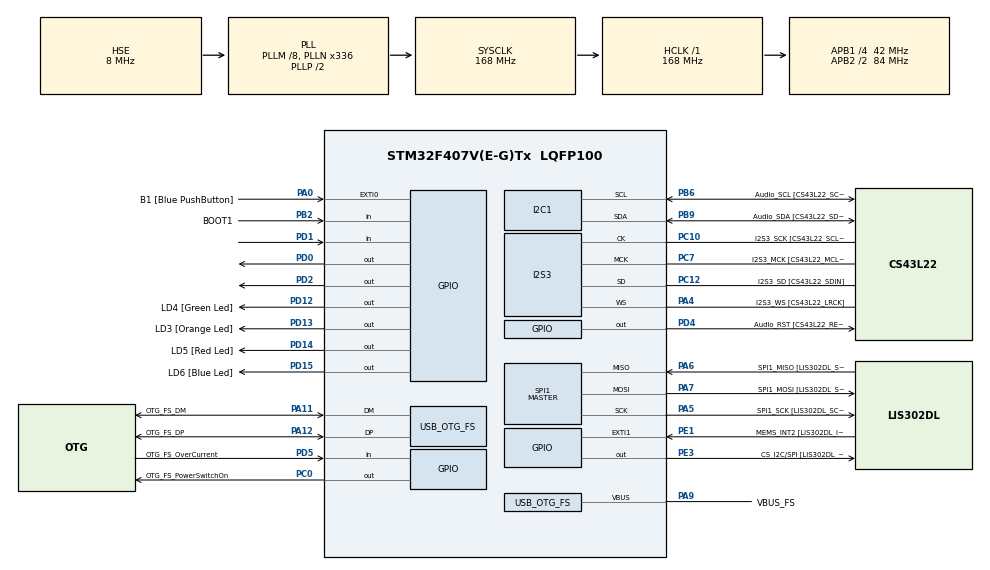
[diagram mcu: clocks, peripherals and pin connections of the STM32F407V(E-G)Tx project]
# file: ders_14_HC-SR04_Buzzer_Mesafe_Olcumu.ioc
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I2S3.AudioFreq-Half_Duplex_Master=I2S_AUDIOFREQ_96K
I2S3.ErrorAudioFreq=-2.34 %
I2S3.ErrorAudioFreq-Half_Duplex_Master=0.8 %
I2S3.FullDuplexMode=I2S_FULLDUPLEXMODE_DISABLE
I2S3.Instance=SPI$Index
I2S3.RealAudioFreq=93.75 KHz
I2S3.RealAudioFreq-Half_Duplex_Master=96.774 KHz
I2S3.VirtualMode=I2S_MODE_MASTER
Mcu.Family=STM32F4
Mcu.Name=STM32F407V(E-G)Tx
Mcu.Package=LQFP100
NVIC.OTG_FS_IRQn=true\:0\:0\:false\:false\:true\:true\:true\:true
NVIC.PriorityGroup=NVIC_PRIORITYGROUP_0
PA0-WKUP.GPIO_Label=B1 [Blue PushButton]
PA0-WKUP.GPIO_ModeDefaultEXTI=GPIO_MODE_EVT_RISING
PA0-WKUP.GPIO_PuPd=GPIO_NOPULL
PA0-WKUP.Signal=GPXTI0
PA10.GPIO_Label=OTG_FS_ID
PA10.GPIO_Mode=GPIO_MODE_AF_PP
PA10.GPIO_PuPd=GPIO_NOPULL
PA10.GPIO_Speed=GPIO_SPEED_FREQ_LOW
PA10.Signal=USB_OTG_FS_ID
PA11.GPIO_Label=OTG_FS_DM
PA11.GPIO_Mode=GPIO_MODE_AF_PP
PA11.GPIO_PuPd=GPIO_NOPULL
PA11.GPIO_Speed=GPIO_SPEED_FREQ_LOW
PA11.Mode=Host_Only
PA11.Signal=USB_OTG_FS_DM
PA12.GPIO_Label=OTG_FS_DP
PA12.GPIO_Mode=GPIO_MODE_AF_PP
PA12.GPIO_PuPd=GPIO_NOPULL
PA12.GPIO_Speed=GPIO_SPEED_FREQ_LOW
PA12.Mode=Host_Only
PA12.Signal=USB_OTG_FS_DP
PA13.GPIO_Label=SWDIO
PA13.Mode=Serial_Wire
PA13.Signal=SYS_JTMS-SWDIO
PA14.GPIO_Label=SWCLK
PA14.Mode=Serial_Wire
PA14.Signal=SYS_JTCK-SWCLK
PA4.GPIO_Label=I2S3_WS [CS43L22_LRCK]
PA4.GPIO_Mode=GPIO_MODE_AF_PP
PA4.GPIO_PuPd=GPIO_NOPULL
PA4.GPIO_Speed=GPIO_SPEED_FREQ_LOW
PA4.Mode=Half_Duplex_Master
PA4.Signal=I2S3_WS
PA5.GPIO_Label=SPI1_SCK [LIS302DL_SCL/SPC]
PA5.GPIO_Mode=GPIO_MODE_AF_PP
PA5.GPIO_PuPd=GPIO_NOPULL
PA5.GPIO_Speed=GPIO_SPEED_FREQ_LOW
PA5.Mode=Full_Duplex_Master
PA5.Signal=SPI1_SCK
PA6.GPIO_Label=SPI1_MISO [LIS302DL_SDO]
PA6.GPIO_Mode=GPIO_MODE_AF_PP
PA6.GPIO_PuPd=GPIO_NOPULL
PA6.GPIO_Speed=GPIO_SPEED_FREQ_LOW
PA6.Mode=Full_Duplex_Master
PA6.Signal=SPI1_MISO
PA7.GPIO_Label=SPI1_MOSI [LIS302DL_SDA/SDI/SDO]
PA7.GPIO_Mode=GPIO_MODE_AF_PP
PA7.GPIO_PuPd=GPIO_NOPULL
PA7.GPIO_Speed=GPIO_SPEED_FREQ_LOW
PA7.Mode=Full_Duplex_Master
PA7.Signal=SPI1_MOSI
PA9.GPIO_Label=VBUS_FS
PA9.GPIO_Mode=GPIO_MODE_INPUT
PA9.GPIO_PuPd=GPIO_NOPULL
PA9.Mode=Activate_VBUS
PA9.Signal=USB_OTG_FS_VBUS
PB10.GPIO_Label=CLK_IN [MP45DT02_CLK]
PB10.GPIO_Mode=GPIO_MODE_AF_PP
PB10.GPIO_PuPd=GPIO_NOPULL
PB10.GPIO_Speed=GPIO_SPEED_FREQ_LOW
PB10.Signal=I2S2_CK
PB2.GPIO_Label=BOOT1
PB2.GPIO_Mode=GPIO_MODE_INPUT
PB2.GPIO_PuPd=GPIO_NOPULL
PB2.Signal=GPIO_Input
PB3.GPIO_Label=SWO
PB3.Signal=SYS_JTDO-SWO
PB6.GPIO_Label=Audio_SCL [CS43L22_SCL]
PB6.GPIO_Mode=GPIO_MODE_AF_OD
PB6.GPIO_Pu=GPIO_PULLUP
PB6.GPIO_PuPd=GPIO_NOPULL
PB6.GPIO_Speed=GPIO_SPEED_FREQ_LOW
PB6.Mode=I2C
PB6.Signal=I2C1_SCL
PB9.GPIO_Label=Audio_SDA [CS43L22_SDA]
PB9.GPIO_Mode=GPIO_MODE_AF_OD
PB9.GPIO_Pu=GPIO_PULLUP
PB9.GPIO_PuPd=GPIO_NOPULL
PB9.GPIO_Speed=GPIO_SPEED_FREQ_LOW
PB9.Mode=I2C
PB9.Signal=I2C1_SDA
PC0.GPIO_Label=OTG_FS_PowerSwitchOn
PC0.GPIO_PuPd=GPIO_NOPULL
PC0.GPIO_Speed=GPIO_SPEED_FREQ_LOW
PC0.PinState=GPIO_PIN_SET
PC0.Signal=GPIO_Output
PC10.GPIO_Label=I2S3_SCK [CS43L22_SCLK]
PC10.GPIO_Mode=GPIO_MODE_AF_PP
PC10.GPIO_PuPd=GPIO_NOPULL
PC10.GPIO_Speed=GPIO_SPEED_FREQ_LOW
PC10.Mode=Half_Duplex_Master
PC10.Signal=I2S3_CK
PC12.GPIO_Label=I2S3_SD [CS43L22_SDIN]
PC12.GPIO_Mode=GPIO_MODE_AF_PP
PC12.GPIO_PuPd=GPIO_NOPULL
PC12.GPIO_Speed=GPIO_SPEED_FREQ_LOW
PC12.Mode=Half_Duplex_Master
PC12.Signal=I2S3_SD
PC14-OSC32_IN.GPIO_Label=PC14-OSC32_IN
PC14-OSC32_IN.Mode=LSE-External-Oscillator
PC14-OSC32_IN.Signal=RCC_OSC32_IN
PC15-OSC32_OUT.GPIO_Label=PC15-OSC32_OUT
PC15-OSC32_OUT.Mode=LSE-External-Oscillator
PC15-OSC32_OUT.Signal=RCC_OSC32_OUT
PC3.GPIO_Label=PDM_OUT [MP45DT02_DOUT]
PC3.GPIO_Mode=GPIO_MODE_AF_PP
PC3.GPIO_PuPd=GPIO_NOPULL
PC3.GPIO_Speed=GPIO_SPEED_FREQ_LOW
PC3.Signal=I2S2_SD
PC7.GPIO_Label=I2S3_MCK [CS43L22_MCLK]
PC7.GPIO_Mode=GPIO_MODE_AF_PP
PC7.GPIO_PuPd=GPIO_NOPULL
PC7.GPIO_Speed=GPIO_SPEED_FREQ_LOW
PC7.Mode=Master_Clock_Activated
PC7.Signal=I2S3_MCK
PD0.Signal=GPIO_Output
PD1.Signal=GPIO_Input
PD12.GPIO_Label=LD4 [Green Led]
PD12.GPIO_PuPd=GPIO_NOPULL
PD12.GPIO_Speed=GPIO_SPEED_FREQ_LOW
PD12.Signal=GPIO_Output
PD13.GPIO_Label=LD3 [Orange Led]
PD13.GPIO_PuPd=GPIO_NOPULL
PD13.GPIO_Speed=GPIO_SPEED_FREQ_LOW
PD13.Signal=GPIO_Output
PD14.GPIO_Label=LD5 [Red Led]
PD14.GPIO_PuPd=GPIO_NOPULL
PD14.GPIO_Speed=GPIO_SPEED_FREQ_LOW
PD14.Signal=GPIO_Output
PD15.GPIO_Label=LD6 [Blue Led]
PD15.GPIO_PuPd=GPIO_NOPULL
PD15.GPIO_Speed=GPIO_SPEED_FREQ_LOW
PD15.Signal=GPIO_Output
PD2.Signal=GPIO_Output
PD4.GPIO_Label=Audio_RST [CS43L22_RESET]
PD4.GPIO_PuPd=GPIO_NOPULL
PD4.GPIO_Speed=GPIO_SPEED_FREQ_LOW
PD4.Signal=GPIO_Output
PD5.GPIO_Label=OTG_FS_OverCurrent
PD5.GPIO_Mode=GPIO_MODE_INPUT
PD5.GPIO_PuPd=GPIO_NOPULL
PD5.Signal=GPIO_Input
PE1.GPIO_Label=MEMS_INT2 [LIS302DL_INT2]
PE1.GPIO_ModeDefaultEXTI=GPIO_MODE_EVT_RISING
PE1.GPIO_PuPd=GPIO_NOPULL
PE1.Signal=GPXTI1
PE3.GPIO_Label=CS_I2C/SPI [LIS302DL_CS_I2C/SPI]
PE3.GPIO_PuPd=GPIO_NOPULL
PE3.GPIO_Speed=GPIO_SPEED_FREQ_LOW
PE3.Signal=GPIO_Output
PH0-OSC_IN.GPIO_Label=PH0-OSC_IN
PH0-OSC_IN.Mode=HSE-External-Oscillator
PH0-OSC_IN.Signal=RCC_OSC_IN
PH1-OSC_OUT.GPIO_Label=PH1-OSC_OUT
PH1-OSC_OUT.Mode=HSE-External-Oscillator
PH1-OSC_OUT.Signal=RCC_OSC_OUT
ProjectManager.HeapSize=0x200
ProjectManager.StackSize=0x400
ProjectManager.TargetToolchain=STM32CubeIDE
RCC.48MHZClocksFreq_Value=48000000
RCC.AHBFreq_Value=168000000
RCC.APB1CLKDivider=RCC_HCLK_DIV4
RCC.APB1Freq_Value=42000000
RCC.APB1TimFreq_Value=84000000
RCC.APB2CLKDivider=RCC_HCLK_DIV2
RCC.APB2Freq_Value=84000000
RCC.APB2TimFreq_Value=168000000
RCC.CortexFreq_Value=168000000
RCC.HCLKFreq_Value=168000000
RCC.HSE_VALUE=8000000
RCC.HSI_VALUE=16000000
RCC.PLLM=8
RCC.PLLN=336
RCC.PLLQ=7
RCC.SYSCLKFreq_VALUE=168000000
RCC.SYSCLKSource=RCC_SYSCLKSOURCE_PLLCLK
RCC.VCOOutputFreq_Value=336000000
SPI1.BaudRatePrescaler-Full_Duplex_Master=SPI_BAUDRATEPRESCALER_2
SPI1.CalculateBaudRate-Full_Duplex_Master=42.0 MBits/s
SPI1.Direction=SPI_DIRECTION_2LINES
SPI1.Mode=SPI_MODE_MASTER
SPI1.Mode-Full_Duplex_Master=SPI_MODE_MASTER
SPI1.VirtualType=VM_MASTER
TIM2.Prescaler=83
USB_HOST.BSP.number=1
USB_HOST.USBH_HandleTypeDef-CDC_FS=hUsbHostFS
USB_HOST.VirtualModeFS=Cdc
USB_HOST0.BSP.STBoard=false
USB_HOST0.BSP.api=Unknown
USB_HOST0.BSP.instance=PC0
USB_HOST0.BSP.ip=GPIO
USB_HOST0.BSP.mode=Output
USB_HOST0.BSP.name=Drive_VBUS_FS
USB_HOST0.BSP.solution=PC0
USB_OTG_FS.VirtualMode=Host_Only
USB_OTG_FS.phy_itface=HCD_PHY_EMBEDDED
VP_TIM2_VS_ClockSourceINT.Mode=Internal
VP_USB_HOST_VS_USB_HOST_CDC_FS.Mode=CDC_FS
board=STM32F407G-DISC1

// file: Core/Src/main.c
/* USER CODE BEGIN Header */
/**
  ******************************************************************************
  * @file           : main.c
  * @brief          : Main program body
  ******************************************************************************
  * @attention
  *
  * Copyright (c) 2025 STMicroelectronics.
  * All rights reserved.
  *
  * This software is licensed under terms that can be found in the LICENSE file
  * in the root directory of this software component.
  * If no LICENSE file comes with this software, it is provided AS-IS.
  *
  ******************************************************************************
  */
/* USER CODE END Header */
#include "main.h"
#include "usb_host.h"

I2C_HandleTypeDef hi2c1;

I2S_HandleTypeDef hi2s3;

SPI_HandleTypeDef hspi1;

TIM_HandleTypeDef htim2;

/* USER CODE BEGIN PV */
#define TRIG_PIN GPIO_PIN_0
#define TRIG_PORT GPIOD
#define ECHO_PIN GPIO_PIN_1
#define ECHO_PORT GPIOD
#define BUZZER_PIN GPIO_PIN_2
#define BUZZER_PORT GPIOD
float Distance = 0;

/* USER CODE END PV */

void SystemClock_Config(void);
static void MX_GPIO_Init(void);
static void MX_I2C1_Init(void);
static void MX_I2S3_Init(void);
static void MX_SPI1_Init(void);
static void MX_TIM2_Init(void);
void MX_USB_HOST_Process(void);

void delay_us(uint16_t us)
{
    __HAL_TIM_SET_COUNTER(&htim2, 0);  // sayacı sıfırla
    while (__HAL_TIM_GET_COUNTER(&htim2) < us); // sayıcı verilen süreye ulaşana kadar bekle
}

float HCSR04_Read(void)
{
	  uint32_t startTime = 0, endTime = 0;
	    uint32_t timeout;

	    // 1) TRIG pinini 10 µs HIGH yap
	    HAL_GPIO_WritePin(TRIG_PORT, TRIG_PIN, GPIO_PIN_SET);
	    delay_us(10);
	    HAL_GPIO_WritePin(TRIG_PORT, TRIG_PIN, GPIO_PIN_RESET);

	    // 2) ECHO HIGH olana kadar bekle (timeout ile)
	    timeout = 60000;
	    while (HAL_GPIO_ReadPin(ECHO_PORT, ECHO_PIN) == GPIO_PIN_RESET && timeout--);
	    if (timeout == 0) return -1; // sensör cevap vermedi

	    // 3) Sayaç sıfırla
	    __HAL_TIM_SET_COUNTER(&htim2, 0);

	    // 4) ECHO LOW olana kadar bekle (timeout ile)
	    timeout = 60000;
	    while (HAL_GPIO_ReadPin(ECHO_PORT, ECHO_PIN) == GPIO_PIN_SET && timeout--);
	    if (timeout == 0) return -1; // sensör takıldı

	    endTime = __HAL_TIM_GET_COUNTER(&htim2);

	    // 5) Mikro saniye farkı
	    uint32_t micros = endTime;

	    // 6) Mesafe (cm)
	    return (micros * 0.0343f) / 2.0f;
}

int main(void)
{

  /* MCU Configuration--------------------------------------------------------*/

  /* Reset of all peripherals, Initializes the Flash interface and the Systick. */
  HAL_Init();

  /* Configure the system clock */
  SystemClock_Config();

  /* Initialize all configured peripherals */
  MX_GPIO_Init();
  MX_I2C1_Init();
  MX_I2S3_Init();
  MX_SPI1_Init();
  MX_USB_HOST_Init();
  MX_TIM2_Init();
  /* USER CODE BEGIN 2 */
  HAL_TIM_Base_Start(&htim2); // Timer başlat
  /* USER CODE END 2 */

  /* Infinite loop */
  while (1)
  {
    MX_USB_HOST_Process();

    /* USER CODE BEGIN 3 */
    Distance = HCSR04_Read();

       if (Distance > 0 && Distance < 20.0f)
       {
           if (Distance < 5.0f)
           {
               // Çok yakın → sürekli alarm
               HAL_GPIO_WritePin(BUZZER_PORT, BUZZER_PIN, GPIO_PIN_SET);
           }
           else if (Distance < 10.0f)
           {
               // 5–10 cm → hızlı bip
               HAL_GPIO_WritePin(BUZZER_PORT, BUZZER_PIN, GPIO_PIN_SET);
               HAL_Delay(100);
               HAL_GPIO_WritePin(BUZZER_PORT, BUZZER_PIN, GPIO_PIN_RESET);
               HAL_Delay(100);
           }
           else if (Distance < 15.0f)
           {
               // 10–15 cm → orta hızda bip
               HAL_GPIO_WritePin(BUZZER_PORT, BUZZER_PIN, GPIO_PIN_SET);
               HAL_Delay(200);
               HAL_GPIO_WritePin(BUZZER_PORT, BUZZER_PIN, GPIO_PIN_RESET);
               HAL_Delay(200);
           }
           else
           {
               // 15–20 cm → yavaş bip
               HAL_GPIO_WritePin(BUZZER_PORT, BUZZER_PIN, GPIO_PIN_SET);
               HAL_Delay(500);
               HAL_GPIO_WritePin(BUZZER_PORT, BUZZER_PIN, GPIO_PIN_RESET);
               HAL_Delay(500);
           }
       }
       else
       {
           // Uzakta → sessiz
           HAL_GPIO_WritePin(BUZZER_PORT, BUZZER_PIN, GPIO_PIN_RESET);
       }

       HAL_Delay(50); // Ölçüm için küçük gecikme
  }
  /* USER CODE END 3 */
}

void SystemClock_Config(void)
{
  RCC_OscInitTypeDef RCC_OscInitStruct = {0};
  RCC_ClkInitTypeDef RCC_ClkInitStruct = {0};

  /** Configure the main internal regulator output voltage
  */
  __HAL_RCC_PWR_CLK_ENABLE();
  __HAL_PWR_VOLTAGESCALING_CONFIG(PWR_REGULATOR_VOLTAGE_SCALE1);

  /** Initializes the RCC Oscillators according to the specified parameters
  * in the RCC_OscInitTypeDef structure.
  */
  RCC_OscInitStruct.OscillatorType = RCC_OSCILLATORTYPE_HSE;
  RCC_OscInitStruct.HSEState = RCC_HSE_ON;
  RCC_OscInitStruct.PLL.PLLState = RCC_PLL_ON;
  RCC_OscInitStruct.PLL.PLLSource = RCC_PLLSOURCE_HSE;
  RCC_OscInitStruct.PLL.PLLM = 8;
  RCC_OscInitStruct.PLL.PLLN = 336;
  RCC_OscInitStruct.PLL.PLLP = RCC_PLLP_DIV2;
  RCC_OscInitStruct.PLL.PLLQ = 7;
  if (HAL_RCC_OscConfig(&RCC_OscInitStruct) != HAL_OK)
  {
    Error_Handler();
  }

  /** Initializes the CPU, AHB and APB buses clocks
  */
  RCC_ClkInitStruct.ClockType = RCC_CLOCKTYPE_HCLK|RCC_CLOCKTYPE_SYSCLK
                              |RCC_CLOCKTYPE_PCLK1|RCC_CLOCKTYPE_PCLK2;
  RCC_ClkInitStruct.SYSCLKSource = RCC_SYSCLKSOURCE_PLLCLK;
  RCC_ClkInitStruct.AHBCLKDivider = RCC_SYSCLK_DIV1;
  RCC_ClkInitStruct.APB1CLKDivider = RCC_HCLK_DIV4;
  RCC_ClkInitStruct.APB2CLKDivider = RCC_HCLK_DIV2;

  if (HAL_RCC_ClockConfig(&RCC_ClkInitStruct, FLASH_LATENCY_5) != HAL_OK)
  {
    Error_Handler();
  }
}

static void MX_I2C1_Init(void)
{

  hi2c1.Instance = I2C1;
  hi2c1.Init.ClockSpeed = 100000;
  hi2c1.Init.DutyCycle = I2C_DUTYCYCLE_2;
  hi2c1.Init.OwnAddress1 = 0;
  hi2c1.Init.AddressingMode = I2C_ADDRESSINGMODE_7BIT;
  hi2c1.Init.DualAddressMode = I2C_DUALADDRESS_DISABLE;
  hi2c1.Init.OwnAddress2 = 0;
  hi2c1.Init.GeneralCallMode = I2C_GENERALCALL_DISABLE;
  hi2c1.Init.NoStretchMode = I2C_NOSTRETCH_DISABLE;
  if (HAL_I2C_Init(&hi2c1) != HAL_OK)
  {
    Error_Handler();
  }

}

static void MX_I2S3_Init(void)
{

  hi2s3.Instance = SPI3;
  hi2s3.Init.Mode = I2S_MODE_MASTER_TX;
  hi2s3.Init.Standard = I2S_STANDARD_PHILIPS;
  hi2s3.Init.DataFormat = I2S_DATAFORMAT_16B;
  hi2s3.Init.MCLKOutput = I2S_MCLKOUTPUT_ENABLE;
  hi2s3.Init.AudioFreq = I2S_AUDIOFREQ_96K;
  hi2s3.Init.CPOL = I2S_CPOL_LOW;
  hi2s3.Init.ClockSource = I2S_CLOCK_PLL;
  hi2s3.Init.FullDuplexMode = I2S_FULLDUPLEXMODE_DISABLE;
  if (HAL_I2S_Init(&hi2s3) != HAL_OK)
  {
    Error_Handler();
  }

}

static void MX_SPI1_Init(void)
{

  /* SPI1 parameter configuration*/
  hspi1.Instance = SPI1;
  hspi1.Init.Mode = SPI_MODE_MASTER;
  hspi1.Init.Direction = SPI_DIRECTION_2LINES;
  hspi1.Init.DataSize = SPI_DATASIZE_8BIT;
  hspi1.Init.CLKPolarity = SPI_POLARITY_LOW;
  hspi1.Init.CLKPhase = SPI_PHASE_1EDGE;
  hspi1.Init.NSS = SPI_NSS_SOFT;
  hspi1.Init.BaudRatePrescaler = SPI_BAUDRATEPRESCALER_2;
  hspi1.Init.FirstBit = SPI_FIRSTBIT_MSB;
  hspi1.Init.TIMode = SPI_TIMODE_DISABLE;
  hspi1.Init.CRCCalculation = SPI_CRCCALCULATION_DISABLE;
  hspi1.Init.CRCPolynomial = 10;
  if (HAL_SPI_Init(&hspi1) != HAL_OK)
  {
    Error_Handler();
  }

}

static void MX_TIM2_Init(void)
{

  TIM_ClockConfigTypeDef sClockSourceConfig = {0};
  TIM_MasterConfigTypeDef sMasterConfig = {0};

  htim2.Instance = TIM2;
  htim2.Init.Prescaler = 83;
  htim2.Init.CounterMode = TIM_COUNTERMODE_UP;
  htim2.Init.Period = 4294967295;
  htim2.Init.ClockDivision = TIM_CLOCKDIVISION_DIV1;
  htim2.Init.AutoReloadPreload = TIM_AUTORELOAD_PRELOAD_DISABLE;
  if (HAL_TIM_Base_Init(&htim2) != HAL_OK)
  {
    Error_Handler();
  }
  sClockSourceConfig.ClockSource = TIM_CLOCKSOURCE_INTERNAL;
  if (HAL_TIM_ConfigClockSource(&htim2, &sClockSourceConfig) != HAL_OK)
  {
    Error_Handler();
  }
  sMasterConfig.MasterOutputTrigger = TIM_TRGO_RESET;
  sMasterConfig.MasterSlaveMode = TIM_MASTERSLAVEMODE_DISABLE;
  if (HAL_TIMEx_MasterConfigSynchronization(&htim2, &sMasterConfig) != HAL_OK)
  {
    Error_Handler();
  }

}

static void MX_GPIO_Init(void)
{
  GPIO_InitTypeDef GPIO_InitStruct = {0};

  /* GPIO Ports Clock Enable */
  __HAL_RCC_GPIOE_CLK_ENABLE();
  __HAL_RCC_GPIOC_CLK_ENABLE();
  __HAL_RCC_GPIOH_CLK_ENABLE();
  __HAL_RCC_GPIOA_CLK_ENABLE();
  __HAL_RCC_GPIOB_CLK_ENABLE();
  __HAL_RCC_GPIOD_CLK_ENABLE();

  /*Configure GPIO pin Output Level */
  HAL_GPIO_WritePin(CS_I2C_SPI_GPIO_Port, CS_I2C_SPI_Pin, GPIO_PIN_RESET);

  /*Configure GPIO pin Output Level */
  HAL_GPIO_WritePin(OTG_FS_PowerSwitchOn_GPIO_Port, OTG_FS_PowerSwitchOn_Pin, GPIO_PIN_SET);

  /*Configure GPIO pin Output Level */
  HAL_GPIO_WritePin(GPIOD, LD4_Pin|LD3_Pin|LD5_Pin|LD6_Pin
                          |GPIO_PIN_0|GPIO_PIN_2|Audio_RST_Pin, GPIO_PIN_RESET);

  /*Configure GPIO pin : CS_I2C_SPI_Pin */
  GPIO_InitStruct.Pin = CS_I2C_SPI_Pin;
  GPIO_InitStruct.Mode = GPIO_MODE_OUTPUT_PP;
  GPIO_InitStruct.Pull = GPIO_NOPULL;
  GPIO_InitStruct.Speed = GPIO_SPEED_FREQ_LOW;
  HAL_GPIO_Init(CS_I2C_SPI_GPIO_Port, &GPIO_InitStruct);

  /*Configure GPIO pin : OTG_FS_PowerSwitchOn_Pin */
  GPIO_InitStruct.Pin = OTG_FS_PowerSwitchOn_Pin;
  GPIO_InitStruct.Mode = GPIO_MODE_OUTPUT_PP;
  GPIO_InitStruct.Pull = GPIO_NOPULL;
  GPIO_InitStruct.Speed = GPIO_SPEED_FREQ_LOW;
  HAL_GPIO_Init(OTG_FS_PowerSwitchOn_GPIO_Port, &GPIO_InitStruct);

  /*Configure GPIO pin : PDM_OUT_Pin */
  GPIO_InitStruct.Pin = PDM_OUT_Pin;
  GPIO_InitStruct.Mode = GPIO_MODE_AF_PP;
  GPIO_InitStruct.Pull = GPIO_NOPULL;
  GPIO_InitStruct.Speed = GPIO_SPEED_FREQ_LOW;
  GPIO_InitStruct.Alternate = GPIO_AF5_SPI2;
  HAL_GPIO_Init(PDM_OUT_GPIO_Port, &GPIO_InitStruct);

  /*Configure GPIO pin : B1_Pin */
  GPIO_InitStruct.Pin = B1_Pin;
  GPIO_InitStruct.Mode = GPIO_MODE_EVT_RISING;
  GPIO_InitStruct.Pull = GPIO_NOPULL;
  HAL_GPIO_Init(B1_GPIO_Port, &GPIO_InitStruct);

  /*Configure GPIO pin : BOOT1_Pin */
  GPIO_InitStruct.Pin = BOOT1_Pin;
  GPIO_InitStruct.Mode = GPIO_MODE_INPUT;
  GPIO_InitStruct.Pull = GPIO_NOPULL;
  HAL_GPIO_Init(BOOT1_GPIO_Port, &GPIO_InitStruct);

  /*Configure GPIO pin : CLK_IN_Pin */
  GPIO_InitStruct.Pin = CLK_IN_Pin;
  GPIO_InitStruct.Mode = GPIO_MODE_AF_PP;
  GPIO_InitStruct.Pull = GPIO_NOPULL;
  GPIO_InitStruct.Speed = GPIO_SPEED_FREQ_LOW;
  GPIO_InitStruct.Alternate = GPIO_AF5_SPI2;
  HAL_GPIO_Init(CLK_IN_GPIO_Port, &GPIO_InitStruct);

  /*Configure GPIO pins : LD4_Pin LD3_Pin LD5_Pin LD6_Pin
                           PD0 PD2 Audio_RST_Pin */
  GPIO_InitStruct.Pin = LD4_Pin|LD3_Pin|LD5_Pin|LD6_Pin
                          |GPIO_PIN_0|GPIO_PIN_2|Audio_RST_Pin;
  GPIO_InitStruct.Mode = GPIO_MODE_OUTPUT_PP;
  GPIO_InitStruct.Pull = GPIO_NOPULL;
  GPIO_InitStruct.Speed = GPIO_SPEED_FREQ_LOW;
  HAL_GPIO_Init(GPIOD, &GPIO_InitStruct);

  /*Configure GPIO pins : PD1 OTG_FS_OverCurrent_Pin */
  GPIO_InitStruct.Pin = GPIO_PIN_1|OTG_FS_OverCurrent_Pin;
  GPIO_InitStruct.Mode = GPIO_MODE_INPUT;
  GPIO_InitStruct.Pull = GPIO_NOPULL;
  HAL_GPIO_Init(GPIOD, &GPIO_InitStruct);

  /*Configure GPIO pin : MEMS_INT2_Pin */
  GPIO_InitStruct.Pin = MEMS_INT2_Pin;
  GPIO_InitStruct.Mode = GPIO_MODE_EVT_RISING;
  GPIO_InitStruct.Pull = GPIO_NOPULL;
  HAL_GPIO_Init(MEMS_INT2_GPIO_Port, &GPIO_InitStruct);

}

void Error_Handler(void)
{
  __disable_irq();
  while (1)
  {
  }
}
